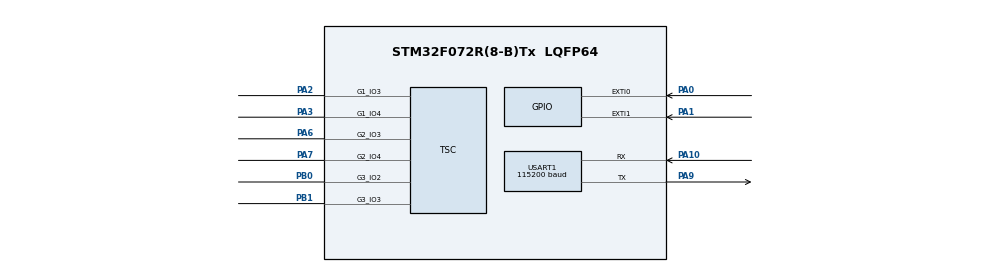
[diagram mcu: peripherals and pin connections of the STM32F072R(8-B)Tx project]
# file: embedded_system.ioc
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Mcu.Family=STM32F0
Mcu.Name=STM32F072R(8-B)Tx
Mcu.Package=LQFP64
NVIC.EXTI0_1_IRQn=true\:0\:0\:false\:false\:true\:true\:true\:true
PA0.GPIO_ModeDefaultEXTI=GPIO_MODE_IT_FALLING
PA0.Signal=GPXTI0
PA1.Signal=GPXTI1
PA10.Mode=Asynchronous
PA10.Signal=USART1_RX
PA13.Mode=Serial_Wire
PA13.Signal=SYS_SWDIO
PA14.Mode=Serial_Wire
PA14.Signal=SYS_SWCLK
PA2.Mode=G1_IO3-Channel
PA2.Signal=TSC_G1_IO3
PA3.Mode=G1_IO4-Sampling
PA3.Signal=TSC_G1_IO4
PA6.Mode=G2_IO3-Channel
PA6.Signal=TSC_G2_IO3
PA7.Mode=G2_IO4-Sampling
PA7.Signal=TSC_G2_IO4
PA9.Mode=Asynchronous
PA9.Signal=USART1_TX
PB0.Mode=G3_IO2-Channel
PB0.Signal=TSC_G3_IO2
PB1.Mode=G3_IO3-Sampling
PB1.Signal=TSC_G3_IO3
PF0-OSC_IN.Mode=HSE-External-Oscillator
PF0-OSC_IN.Signal=RCC_OSC_IN
PF1-OSC_OUT.Mode=HSE-External-Oscillator
PF1-OSC_OUT.Signal=RCC_OSC_OUT
ProjectManager.HeapSize=0x200
ProjectManager.StackSize=0x400
ProjectManager.TargetToolchain=STM32CubeIDE
TOUCHSENSING.IO_3CH_LIN_H_NBR1_CH1=G1_IO3
TOUCHSENSING.IO_3CH_LIN_H_NBR1_CH2=G2_IO3
TOUCHSENSING.IO_3CH_LIN_H_NBR1_CH3=G3_IO2
TOUCHSENSING.TSLPRM_LINROT_CALIB_TH=40
TOUCHSENSING.TSLPRM_LINROT_DETECT_IN_TH=40
TOUCHSENSING.TSLPRM_LINROT_DETECT_OUT_TH=35
TOUCHSENSING.TSLPRM_LINROT_RESOLUTION=7
TOUCHSENSING.TSLPRM_SENSORS_DATAS=TSLPRM_USE_3CH_LIN_H_NBR1 1 3 
TOUCHSENSING.TSLPRM_USE_3CH_LIN_H=1
TOUCHSENSING.TSLPRM_USE_3CH_LIN_H_NBR=1
TSC.ChannelIOs-G1_IO3=TSC_GROUP1_IO3
TSC.ChannelIOs-G2_IO3=TSC_GROUP2_IO3
TSC.ChannelIOs-G3_IO2=TSC_GROUP3_IO2
TSC.SamplingIOs-G1_IO4=TSC_GROUP1_IO4
TSC.SamplingIOs-G2_IO4=TSC_GROUP2_IO4
TSC.SamplingIOs-G3_IO3=TSC_GROUP3_IO3
USART1.BaudRate=115200
USART1.VirtualMode-Asynchronous=VM_ASYNC
VP_TOUCHSENSING_VS_TOUCHSENSING.Mode=TouchSensing_Enabled
board=custom

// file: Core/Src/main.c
/* USER CODE BEGIN Header */
/**
  ******************************************************************************
  * @file           : main.c
  * @brief          : Main program body
  ******************************************************************************
  * @attention
  *
  * Copyright (c) 2023 STMicroelectronics.
  * All rights reserved.
  *
  * This software is licensed under terms that can be found in the LICENSE file
  * in the root directory of this software component.
  * If no LICENSE file comes with this software, it is provided AS-IS.
  *
  ******************************************************************************
  */
/* USER CODE END Header */
#include "main.h"
#include "touchsensing.h"

/* USER CODE BEGIN Includes */
#include <time.h>
#include <stdlib.h>
/* USER CODE END Includes */

TSC_HandleTypeDef htsc;

UART_HandleTypeDef huart1;

/* USER CODE BEGIN PV */
char msg[]="press the button to start the match!\r";
char win[]="Congratulation, you win\r";
char lose[]="Game over, try again\r";
char green[]="\x1b[32m";
char new_screen[]="\x1b[H";
char hide_cursor[]="\x1b[?25l";
//int esc=27;
/* USER CODE END PV */

void SystemClock_Config(void);
static void MX_GPIO_Init(void);
static void MX_USART1_UART_Init(void);
static void MX_TSC_Init(void);

/* USER CODE BEGIN 0 */
int start=0;
int game=0;			// 1=ongoing match 2=user victory 0=not started/user lost

void HAL_GPIO_EXTI_Callback(uint16_t GPIO_Pin){
	if (GPIO_Pin==GPIO_PIN_0){						// if the blue button is pressed it will start the match
		start=1;
	}else if(GPIO_Pin==GPIO_PIN_0){						// enable the reset with the button
		NVIC_SystemReset();
	}
}
/* USER CODE END 0 */

int main(void)
{

  /* MCU Configuration--------------------------------------------------------*/

  /* Reset of all peripherals, Initializes the Flash interface and the Systick. */
  HAL_Init();

  /* Configure the system clock */
  SystemClock_Config();

  /* Initialize all configured peripherals */
  MX_GPIO_Init();
  MX_USART1_UART_Init();
  MX_TSC_Init();
  MX_TOUCHSENSING_Init();
  /* USER CODE BEGIN 2 */

  	srand(time(0));
  while(1){
		start=0;
		int count=0;
		HAL_UART_Transmit(&huart1,(const uint8_t*)&msg,37,100);					//inform the user of how start playing
		HAL_UART_Transmit(&huart1,(const uint8_t*)&green,5,100);				//set color of the court green
		HAL_UART_Transmit(&huart1,(const uint8_t*)&hide_cursor,6,100);				//hide the cursor to make it better

		//prematch waiting for the press of the button
		while (start==0){
			HAL_Delay(100);
			if(count>=10){
				count=0;
				HAL_UART_Transmit(&huart1,(const uint8_t*)&green,5,100);
				HAL_UART_Transmit(&huart1,(const uint8_t*)&hide_cursor,6,100);
				HAL_UART_Transmit(&huart1,(const uint8_t*)&msg,37,100);
			}else{
				count++;
			}
		}
		// set up the match
		HAL_UART_Transmit(&huart1,(const uint8_t*)&new_screen,3,100);
		const int size=40;
		  char campo[30][40]={{'-','-','-','-','-','-','-','-','-','-','-','-','-','-','-','-','-','-','-','-','-','-','-','-','-','-','-','-','-','-','-','-','-','-','-','-','-','-','-','-'},
				  	  	  	  {' ',' ',' ',' ',' ',' ',' ',' ',' ',' ',' ',' ',' ',' ',' ',' ',' ',' ',' ',' ',' ',' ',' ',' ',' ',' ',' ',' ',' ',' ',' ',' ',' ',' ',' ',' ',' ',' ',' ',' '},
							  {' ',' ',' ',' ',' ',' ',' ',' ',' ',' ',' ',' ',' ',' ',' ',' ',' ',' ',' ',' ',' ',' ',' ',' ',' ',' ',' ',' ',' ',' ',' ',' ',' ',' ',' ',' ',' ',' ',' ',' '},
							  {' ',' ',' ',' ',' ',' ',' ',' ',' ',' ',' ',' ',' ',' ',' ',' ',' ',' ',' ',' ',' ',' ',' ',' ',' ',' ',' ',' ',' ',' ',' ',' ',' ',' ',' ',' ',' ',' ',' ',' '},
							  {' ',' ',' ',' ',' ',' ',' ',' ',' ',' ',' ',' ',' ',' ',' ',' ',' ',' ',' ',' ',' ',' ',' ',' ',' ',' ',' ',' ',' ',' ',' ',' ',' ',' ',' ',' ',' ',' ',' ',' '},
							  {' ',' ',' ',' ',' ',' ',' ',' ',' ',' ',' ',' ',' ',' ',' ',' ',' ',' ',' ',' ',' ',' ',' ',' ',' ',' ',' ',' ',' ',' ',' ',' ',' ',' ',' ',' ',' ',' ',' ',' '},
							  {' ',' ',' ',' ',' ',' ',' ',' ',' ',' ',' ',' ',' ',' ',' ',' ',' ',' ',' ',' ',' ',' ',' ',' ',' ',' ',' ',' ',' ',' ',' ',' ',' ',' ',' ',' ',' ',' ',' ',' '},
							  {' ',' ',' ',' ',' ',' ',' ',' ',' ',' ',' ',' ',' ',' ',' ',' ',' ',' ',' ',' ',' ',' ',' ',' ',' ',' ',' ',' ',' ',' ',' ',' ',' ',' ',' ',' ',' ',' ',' ',' '},
							  {' ',' ',' ',' ',' ',' ',' ',' ',' ',' ',' ',' ',' ',' ',' ',' ',' ',' ',' ',' ',' ',' ',' ',' ',' ',' ',' ',' ',' ',' ',' ',' ',' ',' ',' ',' ',' ',' ',' ',' '},
							  {' ',' ',' ',' ',' ',' ',' ',' ',' ',' ',' ',' ',' ',' ',' ',' ',' ',' ',' ',' ',' ',' ',' ',' ',' ',' ',' ',' ',' ',' ',' ',' ',' ',' ',' ',' ',' ',' ',' ',' '},
							  {' ',' ',' ',' ',' ',' ',' ',' ',' ',' ',' ',' ',' ',' ',' ',' ',' ',' ',' ',' ',' ',' ',' ',' ',' ',' ',' ',' ',' ',' ',' ',' ',' ',' ',' ',' ',' ',' ',' ',' '},
							  {' ',' ',' ',' ',' ',' ',' ',' ',' ',' ',' ',' ',' ',' ',' ',' ',' ',' ',' ',' ',' ',' ',' ',' ',' ',' ',' ',' ',' ',' ',' ',' ',' ',' ',' ',' ',' ',' ',' ',' '},
							  {' ',' ',' ',' ',' ',' ',' ',' ',' ',' ',' ',' ',' ',' ',' ',' ',' ',' ',' ',' ',' ',' ',' ',' ',' ',' ',' ',' ',' ',' ',' ',' ',' ',' ',' ',' ',' ',' ',' ',' '},
							  {'|',' ',' ',' ',' ',' ',' ',' ',' ',' ',' ',' ',' ',' ',' ',' ',' ',' ',' ',' ',' ',' ',' ',' ',' ',' ',' ',' ',' ',' ',' ',' ',' ',' ',' ',' ',' ',' ',' ','|'},
							  {'|',' ',' ',' ',' ',' ',' ',' ',' ',' ',' ',' ',' ',' ',' ',' ',' ',' ',' ','o',' ',' ',' ',' ',' ',' ',' ',' ',' ',' ',' ',' ',' ',' ',' ',' ',' ',' ',' ','|'},
							  {'|',' ',' ',' ',' ',' ',' ',' ',' ',' ',' ',' ',' ',' ',' ',' ',' ',' ',' ',' ',' ',' ',' ',' ',' ',' ',' ',' ',' ',' ',' ',' ',' ',' ',' ',' ',' ',' ',' ','|'},
							  {' ',' ',' ',' ',' ',' ',' ',' ',' ',' ',' ',' ',' ',' ',' ',' ',' ',' ',' ',' ',' ',' ',' ',' ',' ',' ',' ',' ',' ',' ',' ',' ',' ',' ',' ',' ',' ',' ',' ',' '},
							  {' ',' ',' ',' ',' ',' ',' ',' ',' ',' ',' ',' ',' ',' ',' ',' ',' ',' ',' ',' ',' ',' ',' ',' ',' ',' ',' ',' ',' ',' ',' ',' ',' ',' ',' ',' ',' ',' ',' ',' '},
							  {' ',' ',' ',' ',' ',' ',' ',' ',' ',' ',' ',' ',' ',' ',' ',' ',' ',' ',' ',' ',' ',' ',' ',' ',' ',' ',' ',' ',' ',' ',' ',' ',' ',' ',' ',' ',' ',' ',' ',' '},
							  {' ',' ',' ',' ',' ',' ',' ',' ',' ',' ',' ',' ',' ',' ',' ',' ',' ',' ',' ',' ',' ',' ',' ',' ',' ',' ',' ',' ',' ',' ',' ',' ',' ',' ',' ',' ',' ',' ',' ',' '},
							  {' ',' ',' ',' ',' ',' ',' ',' ',' ',' ',' ',' ',' ',' ',' ',' ',' ',' ',' ',' ',' ',' ',' ',' ',' ',' ',' ',' ',' ',' ',' ',' ',' ',' ',' ',' ',' ',' ',' ',' '},
							  {' ',' ',' ',' ',' ',' ',' ',' ',' ',' ',' ',' ',' ',' ',' ',' ',' ',' ',' ',' ',' ',' ',' ',' ',' ',' ',' ',' ',' ',' ',' ',' ',' ',' ',' ',' ',' ',' ',' ',' '},
							  {' ',' ',' ',' ',' ',' ',' ',' ',' ',' ',' ',' ',' ',' ',' ',' ',' ',' ',' ',' ',' ',' ',' ',' ',' ',' ',' ',' ',' ',' ',' ',' ',' ',' ',' ',' ',' ',' ',' ',' '},
							  {' ',' ',' ',' ',' ',' ',' ',' ',' ',' ',' ',' ',' ',' ',' ',' ',' ',' ',' ',' ',' ',' ',' ',' ',' ',' ',' ',' ',' ',' ',' ',' ',' ',' ',' ',' ',' ',' ',' ',' '},
							  {' ',' ',' ',' ',' ',' ',' ',' ',' ',' ',' ',' ',' ',' ',' ',' ',' ',' ',' ',' ',' ',' ',' ',' ',' ',' ',' ',' ',' ',' ',' ',' ',' ',' ',' ',' ',' ',' ',' ',' '},
							  {' ',' ',' ',' ',' ',' ',' ',' ',' ',' ',' ',' ',' ',' ',' ',' ',' ',' ',' ',' ',' ',' ',' ',' ',' ',' ',' ',' ',' ',' ',' ',' ',' ',' ',' ',' ',' ',' ',' ',' '},
							  {' ',' ',' ',' ',' ',' ',' ',' ',' ',' ',' ',' ',' ',' ',' ',' ',' ',' ',' ',' ',' ',' ',' ',' ',' ',' ',' ',' ',' ',' ',' ',' ',' ',' ',' ',' ',' ',' ',' ',' '},
							  {' ',' ',' ',' ',' ',' ',' ',' ',' ',' ',' ',' ',' ',' ',' ',' ',' ',' ',' ',' ',' ',' ',' ',' ',' ',' ',' ',' ',' ',' ',' ',' ',' ',' ',' ',' ',' ',' ',' ',' '},
							  {' ',' ',' ',' ',' ',' ',' ',' ',' ',' ',' ',' ',' ',' ',' ',' ',' ',' ',' ',' ',' ',' ',' ',' ',' ',' ',' ',' ',' ',' ',' ',' ',' ',' ',' ',' ',' ',' ',' ',' '},
							  {'-','-','-','-','-','-','-','-','-','-','-','-','-','-','-','-','-','-','-','-','-','-','-','-','-','-','-','-','-','-','-','-','-','-','-','-','-','-','-','-'}};
		  int px=19;			//x of the ball
		  int py=14;			//y of the ball
		  int gamer=14;			//y of the player
		  int computer=14;		//y of the computer
		  int i;
		  int direction=-1; 		//-1=left -2=left-up -3=left-down 1=right 2=right-up 3=right-down
		  const char ball='o';
		  const char space=' ';
		  const char end_line='\r';
		  game=1;
  /* USER CODE END 2 */

  /* Infinite loop */
  /* USER CODE BEGIN WHILE */
		  while (1)
	  	  	  {
		  	  	//show the court to the user
				  for (i = 0; i < 30; i=i+1) {
					  HAL_UART_Transmit(&huart1,(const uint8_t*)&campo[i],40,100);
					  HAL_UART_Transmit(&huart1,(const uint8_t*)&end_line,1,100);
				  }
				 // changing the position of the computer according to the direction with possibility of fail
				  int n = rand()%1000;
				  if(n<980){
					  if(direction==-2 || direction==2){
						  if(campo[computer-2][size-1]==space && py<size-2){
							  campo[computer-2][size-1]='|';
							  campo[computer+1][size-1]=space;
							  computer--;
						  }
					  }else if(direction==-3 || direction==3){
						  if(campo[computer+2][size-1]==space && py>1){
							  campo[computer+2][size-1]='|';
							  campo[computer-1][size-1]=space;
							  computer++;
						  }
					  }
				  }

				  campo[py][px]=space;

				  // changing position of the ball according to the direction of his direction
				  if (direction==-1){
					  if (px==0){
						  game=0;					//the player has missed the ball
						  break;
				  }else if(px==1 && campo[py][0]=='|'){				//check the possibility of rebound on the player
						  if(gamer==py){				//changing direction according on where the player hit the ball
							  direction=1;
							  campo[py][px]=ball;
						  }else if(gamer==py-1){
							  direction=3;
							  campo[py][px]=ball;
						  }else{
							  direction=2;
							  campo[py][px]=ball;
						  }
					  }else{
						  campo[py][px-1]=ball;				//no rebounds so it moves the ball
						  px=px-1;
					  }
				  }else if (direction==-2){
					  if (px==0){
						  game=0;					//the player has missed the ball
						  break;
					  }else if(px==1 && campo[py-1][0]=='|'){		//check the possibility of rebound on the player
						  if(gamer==py-1){				//changing direction according on where the player hit the ball
							  direction=1;
							  campo[py][px]=ball;
						  }else if(gamer==py-2){
							  direction=3;
							  campo[py][px]=ball;
						  }else{
							  direction=2;
							  campo[py][px]=ball;
						  }
					  }else{
						  if(campo[py-1][px-1]=='-'){			//if the ball rebound on the upper part of the court it change the direction
							  direction=-3;
							  campo[py][px]=ball;
						  }else{
							  campo[py-1][px-1]=ball;		//no rebounds so it moves the ball
							  px=px-1;
							  py=py-1;
						  }
					  }
				  }else if (direction==-3){
					  if (px==0){
						  game=0;					//the player has missed the ball
						  break;
					  }else if(px==1 && campo[py+1][0]=='|'){		//check the possibility of rebound on the player
						  if(gamer==py+1){				//changing direction according on where the player hit the ball
							  direction=1;
							  campo[py][px]=ball;
						  }else if(gamer==py){
							  direction=3;
							  campo[py][px]=ball;
						  }else{
							  direction=2;
							  campo[py][px]=ball;
						  }
					  }else{
						  if(campo[py+1][px-1]=='-'){			//if the ball rebound on the lower part of the court it change the direction
							  direction=-2;
							  campo[py][px]=ball;
						  }else{
							  campo[py+1][px-1]=ball;		//no rebounds so it moves the ball
							  px=px-1;
							  py=py+1;
						  }
					  }
				  }else if(direction==1){
					  if (px==size-1){
						  game=2;					//the computer has missed the ball
						  break;
					  }else if(px==size-2 && campo[py][size-1]=='|'){ 	//check the possibility of rebound on the computer
						  if(computer==py){				//changing direction according on where the computer hit the ball
							  direction=-1;
							  campo[py][px]=ball;
						  }else if(computer==py-1){
							  direction=-3;
							  campo[py][px]=ball;
						  }else{
							  direction=-2;
							  campo[py][px]=ball;
						  }
					  }else{
						  campo[py][px+1]=ball;				//no rebounds so it moves the ball
						  px=px+1;
					  }
				  }else if(direction==2){
					  if (px==size-1){
						  game=2;					//the computer has missed the ball
						  break;
					  }else if(px==size-2 && campo[py-1][size-1]=='|'){	//check the possibility of rebound on the computer
						  if(computer==py-1){				//changing direction according on where the computer hit the ball
							  direction=-1;
							  campo[py][px]=ball;
						  }else if(computer==py-2){
							  direction=-3;
							  campo[py][px]=ball;
						  }else{
							  direction=-2;
							  campo[py][px]=ball;
						  }
					  }else{
						  if(campo[py-1][px+1]=='-'){			//if the ball rebound on the upper part of the court it change the direction
							  direction=3;
							  campo[py][px]=ball;
						  }else{
							  campo[py-1][px+1]=ball;		//no rebounds so it moves the ball
							  px=px+1;
							  py=py-1;
						  }
					  }
				  }else if(direction==3){
					  if (px==size-1){
						  game=2;					//the computer has missed the ball
						  break;
					  }else if(px==size-2 && campo[py+1][size-1]=='|'){	//check the possibility of rebound on the computer
						  if(computer==py){				//changing direction according on where the computer hit the ball
							  direction=-1;
							  campo[py][px]=ball;
						  }else if(computer==py-1){
							  direction=-3;
							  campo[py][px]=ball;
						  }else{
							  direction=-2;
							  campo[py][px]=ball;
						  }
					  }else{
						  if(campo[py+1][px+1]=='-'){			//if the ball rebound on the lower part of the court it change the direction
							  direction=2;
							  campo[py][px]=ball;
						  }else{
							  campo[py+1][px+1]=ball;		//no rebounds so it moves the ball
							  px=px+1;
							  py=py+1;
						  }
					  }
				  }

				  //detect what the player has pressed on the touch bar to change the position of the player
				  extern CONST TSL_LinRot_T MyLinRots[];
				  tsl_user_status_t status = TSL_USER_STATUS_BUSY;
				  do {
					 HAL_Delay(10);
					 status = tsl_user_Exec();
				  }while(status==TSL_USER_STATUS_BUSY); //exit when the measurement is done
				  if(MyLinRots[0].p_Data->StateId == TSL_STATEID_DETECT){
					  if(MyLinRots[0].p_Data->Position >= 5 && MyLinRots[0].p_Data->Position < 50) //if detected the lower part of the bar
						  {
						  if(campo[gamer+2][0]==space){						//change position if it is not on the corner
								campo[gamer+2][0]='|';
								campo[gamer-1][0]=space;
								gamer++;
							 }
						  }
					   if(MyLinRots[0].p_Data->Position >= 80 && MyLinRots[0].p_Data->Position < 120)//if detected the upper part of the bar
						  {
						  if(campo[gamer-2][0]==space){						//change position if it is not on the corner
							  campo[gamer-2][0]='|';
							  campo[gamer+1][0]=space;
							  gamer=gamer-1;
							  }
						  }
				  }
				  HAL_UART_Transmit(&huart1,(const uint8_t*)&new_screen,3,100);
    /* USER CODE END WHILE */

    /* USER CODE BEGIN 3 */
	  }
	  HAL_UART_Transmit(&huart1,(const uint8_t*)&new_screen,3,100);
	  if(game==0){
		  HAL_UART_Transmit(&huart1,(const uint8_t*)&lose,21,100);		// user lost
	  }else if(game==2){
		  HAL_UART_Transmit(&huart1,(const uint8_t*)&win,24,100);		// user victory
	  }
  }
  /* USER CODE END 3 */
}

void SystemClock_Config(void)
{
  RCC_OscInitTypeDef RCC_OscInitStruct = {0};
  RCC_ClkInitTypeDef RCC_ClkInitStruct = {0};
  RCC_PeriphCLKInitTypeDef PeriphClkInit = {0};

  /** Initializes the RCC Oscillators according to the specified parameters
  * in the RCC_OscInitTypeDef structure.
  */
  RCC_OscInitStruct.OscillatorType = RCC_OSCILLATORTYPE_HSI;
  RCC_OscInitStruct.HSIState = RCC_HSI_ON;
  RCC_OscInitStruct.HSICalibrationValue = RCC_HSICALIBRATION_DEFAULT;
  RCC_OscInitStruct.PLL.PLLState = RCC_PLL_NONE;
  if (HAL_RCC_OscConfig(&RCC_OscInitStruct) != HAL_OK)
  {
    Error_Handler();
  }

  /** Initializes the CPU, AHB and APB buses clocks
  */
  RCC_ClkInitStruct.ClockType = RCC_CLOCKTYPE_HCLK|RCC_CLOCKTYPE_SYSCLK
                              |RCC_CLOCKTYPE_PCLK1;
  RCC_ClkInitStruct.SYSCLKSource = RCC_SYSCLKSOURCE_HSI;
  RCC_ClkInitStruct.AHBCLKDivider = RCC_SYSCLK_DIV1;
  RCC_ClkInitStruct.APB1CLKDivider = RCC_HCLK_DIV1;

  if (HAL_RCC_ClockConfig(&RCC_ClkInitStruct, FLASH_LATENCY_0) != HAL_OK)
  {
    Error_Handler();
  }
  PeriphClkInit.PeriphClockSelection = RCC_PERIPHCLK_USART1;
  PeriphClkInit.Usart1ClockSelection = RCC_USART1CLKSOURCE_PCLK1;
  if (HAL_RCCEx_PeriphCLKConfig(&PeriphClkInit) != HAL_OK)
  {
    Error_Handler();
  }
}

static void MX_TSC_Init(void)
{

  /** Configure the TSC peripheral
  */
  htsc.Instance = TSC;
  htsc.Init.CTPulseHighLength = TSC_CTPH_2CYCLES;
  htsc.Init.CTPulseLowLength = TSC_CTPL_2CYCLES;
  htsc.Init.SpreadSpectrum = DISABLE;
  htsc.Init.SpreadSpectrumDeviation = 1;
  htsc.Init.SpreadSpectrumPrescaler = TSC_SS_PRESC_DIV1;
  htsc.Init.PulseGeneratorPrescaler = TSC_PG_PRESC_DIV4;
  htsc.Init.MaxCountValue = TSC_MCV_8191;
  htsc.Init.IODefaultMode = TSC_IODEF_OUT_PP_LOW;
  htsc.Init.SynchroPinPolarity = TSC_SYNC_POLARITY_FALLING;
  htsc.Init.AcquisitionMode = TSC_ACQ_MODE_NORMAL;
  htsc.Init.MaxCountInterrupt = DISABLE;
  htsc.Init.ChannelIOs = TSC_GROUP1_IO3|TSC_GROUP2_IO3|TSC_GROUP3_IO2;
  htsc.Init.ShieldIOs = 0;
  htsc.Init.SamplingIOs = TSC_GROUP1_IO4|TSC_GROUP2_IO4|TSC_GROUP3_IO3;
  if (HAL_TSC_Init(&htsc) != HAL_OK)
  {
    Error_Handler();
  }

}

static void MX_USART1_UART_Init(void)
{

  huart1.Instance = USART1;
  huart1.Init.BaudRate = 115200;
  huart1.Init.WordLength = UART_WORDLENGTH_8B;
  huart1.Init.StopBits = UART_STOPBITS_1;
  huart1.Init.Parity = UART_PARITY_NONE;
  huart1.Init.Mode = UART_MODE_TX_RX;
  huart1.Init.HwFlowCtl = UART_HWCONTROL_NONE;
  huart1.Init.OverSampling = UART_OVERSAMPLING_16;
  huart1.Init.OneBitSampling = UART_ONE_BIT_SAMPLE_DISABLE;
  huart1.AdvancedInit.AdvFeatureInit = UART_ADVFEATURE_NO_INIT;
  if (HAL_UART_Init(&huart1) != HAL_OK)
  {
    Error_Handler();
  }

}

static void MX_GPIO_Init(void)
{
  GPIO_InitTypeDef GPIO_InitStruct = {0};

  /* GPIO Ports Clock Enable */
  __HAL_RCC_GPIOF_CLK_ENABLE();
  __HAL_RCC_GPIOA_CLK_ENABLE();
  __HAL_RCC_GPIOB_CLK_ENABLE();

  /*Configure GPIO pin : PA0 */
  GPIO_InitStruct.Pin = GPIO_PIN_0;
  GPIO_InitStruct.Mode = GPIO_MODE_IT_FALLING;
  GPIO_InitStruct.Pull = GPIO_NOPULL;
  HAL_GPIO_Init(GPIOA, &GPIO_InitStruct);

  /*Configure GPIO pin : PA1 */
  GPIO_InitStruct.Pin = GPIO_PIN_1;
  GPIO_InitStruct.Mode = GPIO_MODE_IT_RISING;
  GPIO_InitStruct.Pull = GPIO_NOPULL;
  HAL_GPIO_Init(GPIOA, &GPIO_InitStruct);

  /* EXTI interrupt init*/
  HAL_NVIC_SetPriority(EXTI0_1_IRQn, 0, 0);
  HAL_NVIC_EnableIRQ(EXTI0_1_IRQn);

}

void Error_Handler(void)
{
  __disable_irq();
  while (1)
  {
  }
}
